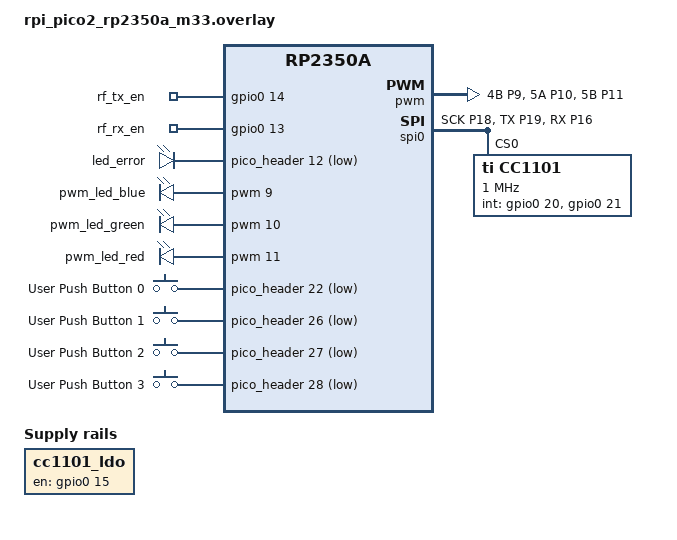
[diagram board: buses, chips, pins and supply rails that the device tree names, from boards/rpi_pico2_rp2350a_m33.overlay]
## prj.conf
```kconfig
CONFIG_INPUT=y
CONFIG_INPUT_LONGPRESS=y
CONFIG_LED=y
CONFIG_GPIO=y
CONFIG_PWM=y
CONFIG_REGULATOR=y

# Added automatically by Workbench for Zephyr
#--- DEBUG PRESET - BEGIN ---#
# Set to -Og
CONFIG_DEBUG_OPTIMIZATIONS=y
# Thread awareness support
CONFIG_DEBUG_THREAD_INFO=y
# Generate stack usage per-function
CONFIG_STACK_USAGE=y
# Other options in case not set by default
CONFIG_BUILD_OUTPUT_HEX=y
CONFIG_BUILD_OUTPUT_META=y
CONFIG_OUTPUT_SYMBOLS=y
CONFIG_OUTPUT_STAT=y
CONFIG_OUTPUT_DISASSEMBLY=y
CONFIG_OUTPUT_PRINT_MEMORY_USAGE=y
#--- DEBUG PRESET - END ---#
```

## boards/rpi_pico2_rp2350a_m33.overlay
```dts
#include <zephyr/dt-bindings/pinctrl/rpi-pico-rp2350a-pinctrl.h>
#include <zephyr/dt-bindings/input/input-event-codes.h>
#include <zephyr/dt-bindings/gpio/gpio.h>
#include <zephyr/dt-bindings/pwm/pwm.h>

/ {

	cc1101_ldo: cc1101-ldo {
		compatible = "regulator-fixed";
		status = "okay";
		regulator-name = "cc1101-ldo";
		enable-gpios = <&gpio0 15 GPIO_ACTIVE_HIGH>;
		regulator-boot-on;
		startup-delay-us = <1000>;
	};

	rf_switch: rf-switch {
		compatible = "gpio-leds";
		status = "okay";

		rf_tx_en: tx-en {
			gpios = <&gpio0 14 GPIO_ACTIVE_HIGH>;
		};
		rf_rx_en: rx-en {
			gpios = <&gpio0 13 GPIO_ACTIVE_HIGH>;
		};
	};

	leds {
		compatible = "gpio-leds";
		status = "okay";

		led_error: led-error {
			gpios = <&pico_header 12 GPIO_ACTIVE_LOW>;
		};
	};

	pwmleds {
		compatible = "pwm-leds";
		status = "okay";

		pwm_led_blue: pwm-led-blue { pwms = <&pwm 9 PWM_USEC(1000) PWM_POLARITY_INVERTED>; }; /* GP9  - slice4B */
		pwm_led_green: pwm-led-green { pwms = <&pwm 10 PWM_USEC(1000) PWM_POLARITY_INVERTED>; }; /* GP10 - slice5A */
		pwm_led_red: pwm-led-red { pwms = <&pwm 11 PWM_USEC(1000) PWM_POLARITY_INVERTED>; }; /* GP11 - slice5B, shares freq w/ GP10 */
	};

	buttons: buttons {
		compatible = "gpio-keys";

		button_0: button-0 {
			gpios = <&pico_header 22 GPIO_ACTIVE_LOW>;
			label = "User Push Button 0";
			zephyr,code = <INPUT_BTN_0>;
		};

		button_1: button-1 {
			gpios = <&pico_header 26 GPIO_ACTIVE_LOW>;
			label = "User Push Button 1";
			zephyr,code = <INPUT_BTN_1>;
		};

		button_2: button-2 {
			gpios = <&pico_header 27 GPIO_ACTIVE_LOW>;
			label = "User Push Button 2";
			zephyr,code = <INPUT_BTN_2>;
		};

		button_3: button-3 {
			gpios = <&pico_header 28 GPIO_ACTIVE_LOW>;
			label = "User Push Button 3";
			zephyr,code = <INPUT_BTN_3>;
		};
	};

	longpress {
		compatible = "zephyr,input-longpress";
		input = <&buttons>;
		input-codes = <INPUT_BTN_0>, <INPUT_BTN_1>, <INPUT_BTN_2>, <INPUT_BTN_3>;
		short-codes = <INPUT_KEY_0>, <INPUT_KEY_1>, <INPUT_KEY_2>, <INPUT_KEY_3>;
		long-codes  = <INPUT_KEY_A>, <INPUT_KEY_B>, <INPUT_KEY_C>, <INPUT_KEY_D>;
		long-delay-ms = <1000>;
	};
};

&pinctrl {
	pwm_multi_default: pwm-multi-default {
		group1 {
			pinmux = <PWM_4B_P9>, <PWM_5A_P10>, <PWM_5B_P11>;
		};
	};

	pico2_spi0_default: pico2-spi0-default {
		group1 {
			// <SPI0_CSN_P17>
			pinmux = <SPI0_SCK_P18>, <SPI0_TX_P19>;
		};

		group2 {
			pinmux = <SPI0_RX_P16>;
			input-enable;
		};
	};
};

&pwm {
	status = "okay";
	pinctrl-0 = <&pwm_multi_default>;
	pinctrl-names = "default";
	divider-int-4 = <150>;
	divider-int-5 = <150>;
};

&adc {
	status = "disabled";
};

&spi0 {
	status = "okay";
	pinctrl-0 = <&pico2_spi0_default>;
	pinctrl-names = "default";
	/* CS is driven manually by the cc1101 driver via its own cs-gpios property */

	cc1101@0 {
		compatible = "ti,cc1101";
		status = "okay";
		reg = <0>;
		spi-max-frequency = <1000000>;
		int_gpios = <&gpio0 20 GPIO_ACTIVE_HIGH>, <&gpio0 21 GPIO_ACTIVE_HIGH>;
		cs-gpios = <&gpio0 17 GPIO_ACTIVE_LOW>;

		frequency = <433920>;
		bitrate = <2500>;
	};
};

&i2c0 {
	status = "disabled";
};

&i2c1 {
	status = "disabled";
};
```

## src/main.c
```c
/*
 * Copyright (c) 2012-2014 Wind River Systems, Inc.
 *
 * SPDX-License-Identifier: Apache-2.0
 */

#include <stdio.h>
#include <errno.h>

#include <zephyr/kernel.h>
#include <zephyr/device.h>
#include <zephyr/input/input.h>
#include <zephyr/drivers/pwm.h>
#include <zephyr/drivers/gpio.h>
#include <zephyr/toolchain.h>

#include <app/drivers/cc1101.h>

// HCS300 protocol parameters
// All timings values are integer multiples of TE.
// TE is configurable between: 100us, 200us, 400us.
// Packet:
//   - Preamble: 23 TE (12 sync pulses) - 50% duty cycle
//   - Header: 10 TE gap
//   - Data: 66 bits -> 1 bit is 3 TE (PWM modulated)
//     - 0 bit: 2 TE high, 1 TE low
//     - 1 bit: 1 TE high, 2 TE low

// 50% duty cycle preamble
#define HCS300_PREAMBLE_TE 23

// Gap between preamble and data
#define HCS300_HEADER_GAP_TE 10

// Serial number, button code, VLOW and RPT bits
#define HCS300_FIXED_BITS     34
#define HCS300_ENCRYPTED_BITS 32
#define HCS300_BIT_TE         3

// Data portion of code word (66 bits)
#define HCS300_DATA_BITS (HCS300_ENCRYPTED_BITS + HCS300_FIXED_BITS)

// Total code word data length in TE units (each bit is encoded in 3 TE - PWM modulated)
#define HCS300_DATA_BITS_TE (HCS300_DATA_BITS * HCS300_BIT_TE)

#define HCS300_CODEWORD_DATA_BYTES ((HCS300_DATA_BITS_TE + 7) >> 3)
#define HCS300_CODEWORD_BYTES                                                                      \
	((HCS300_PREAMBLE_TE + HCS300_HEADER_GAP_TE + HCS300_DATA_BITS_TE + 7) >> 3)

// Button status getter macros
#define HCS300_BTN_STATUS_S0(btn_status) ((btn_status) & HCS300_S0)
#define HCS300_BTN_STATUS_S1(btn_status) ((btn_status) & HCS300_S1)
#define HCS300_BTN_STATUS_S2(btn_status) ((btn_status) & HCS300_S2)
#define HCS300_BTN_STATUS_S3(btn_status) ((btn_status) & HCS300_S3)

#define HCS300_CODEWORD_TE (HCS300_PREAMBLE_TE + HCS300_HEADER_GAP_TE + HCS300_DATA_BITS_TE)

typedef enum hcs300_sw_id {
  HCS300_S0 = 0x1,
  HCS300_S1 = 0x2,
  HCS300_S2 = 0x4,
  HCS300_S3 = 0x8,
} hcs300_sw_id_t;

// Bit ordering within each byte of the codeword/data buffers (byte order of multi-byte
// words such as serial/encrypted is fixed by the protocol and unaffected by this setting)
typedef enum hcs300_bit_order {
	HCS300_BIT_ORDER_LSB_FIRST,
	HCS300_BIT_ORDER_MSB_FIRST,
} hcs300_bit_order_t;

static inline uint8_t hcs300_bit_offset(uint32_t bit_idx, hcs300_bit_order_t bit_order)
{
	uint8_t offset = bit_idx & 0x7;

	return (bit_order == HCS300_BIT_ORDER_MSB_FIRST) ? (7 - offset) : offset;
}

static const struct pwm_dt_spec pwm_led_red = PWM_DT_SPEC_GET(DT_NODELABEL(pwm_led_red));
static const struct pwm_dt_spec pwm_led_green = PWM_DT_SPEC_GET(DT_NODELABEL(pwm_led_green));
static const struct pwm_dt_spec pwm_led_blue = PWM_DT_SPEC_GET(DT_NODELABEL(pwm_led_blue));

static const struct gpio_dt_spec led_error = GPIO_DT_SPEC_GET(DT_NODELABEL(led_error), gpios);

static const struct gpio_dt_spec button_0 = GPIO_DT_SPEC_GET(DT_NODELABEL(button_0), gpios);
static const struct gpio_dt_spec button_1 = GPIO_DT_SPEC_GET(DT_NODELABEL(button_1), gpios);
static const struct gpio_dt_spec button_2 = GPIO_DT_SPEC_GET(DT_NODELABEL(button_2), gpios);
static const struct gpio_dt_spec button_3 = GPIO_DT_SPEC_GET(DT_NODELABEL(button_3), gpios);

static const struct gpio_dt_spec rf_tx_en = GPIO_DT_SPEC_GET(DT_NODELABEL(rf_tx_en), gpios);
static const struct gpio_dt_spec rf_rx_en = GPIO_DT_SPEC_GET(DT_NODELABEL(rf_rx_en), gpios);

static int rf_switch_init(void)
{
    if (!gpio_is_ready_dt(&rf_tx_en) || !gpio_is_ready_dt(&rf_rx_en)) {
        return -ENODEV;
    }

    gpio_pin_configure_dt(&rf_tx_en, GPIO_OUTPUT_ACTIVE);
    gpio_pin_configure_dt(&rf_rx_en, GPIO_OUTPUT_INACTIVE);
    return 0;
}

const struct device *cc1101 = DEVICE_DT_GET_ANY(ti_cc1101);

static void button_input_cb(struct input_event *evt, void *user_data)
{
	ARG_UNUSED(user_data);

	if (evt->sync == 0) {
		return;
	}

	printf("Button %d %s at %" PRIu32 "\n", evt->code, evt->value ? "pressed" : "released",
	       k_uptime_get_32());
}

INPUT_CALLBACK_DEFINE(NULL, button_input_cb, NULL);

static void led_test(void)
{
	pwm_set_pulse_dt(&pwm_led_red, 0);
	pwm_set_pulse_dt(&pwm_led_green, 0);
	pwm_set_pulse_dt(&pwm_led_blue, 0);
	gpio_pin_set_dt(&led_error, 1);
	k_msleep(1000);
	gpio_pin_set_dt(&led_error, 0);

	for (int i = 0; i <= 100; i++) {
		k_msleep(10);
		pwm_set_pulse_dt(&pwm_led_red, PWM_USEC(i * 10));
	}
	pwm_set_pulse_dt(&pwm_led_red, 0);
	k_msleep(1000);

	for (int i = 0; i <= 100; i++) {
		k_msleep(10);
		pwm_set_pulse_dt(&pwm_led_green, PWM_USEC(i * 10));
	}
	pwm_set_pulse_dt(&pwm_led_green, 0);
	k_msleep(1000);

	for (int i = 0; i <= 100; i++) {
		k_msleep(10);
		pwm_set_pulse_dt(&pwm_led_blue, PWM_USEC(i * 10));
	}
	pwm_set_pulse_dt(&pwm_led_blue, 0);
	k_msleep(1000);
}

static int create_codeword(uint8_t *codeword, uint16_t codeword_len, bool rpt, bool vlow,
			   uint8_t btn_status, uint32_t serial, uint32_t encrypted,
			   uint16_t guard_time_us, uint16_t te_us, bool preamble,
			   bool header, bool guard, hcs300_bit_order_t bit_order)
{
	uint16_t bit_len = HCS300_DATA_BITS_TE;
	uint8_t data[HCS300_CODEWORD_DATA_BYTES];

	memset(data, 0, sizeof(data));
	memset(codeword, 0, codeword_len);

	if (preamble) {
		bit_len += HCS300_PREAMBLE_TE;
	}
	if (header) {
		bit_len += HCS300_HEADER_GAP_TE;
	}
	if (guard) {
		bit_len += (guard_time_us + te_us - 1) / te_us;
	}
	uint16_t cw_len_min = (bit_len + 7) >> 3;

	if (codeword_len < cw_len_min) {
		return -ENOSPC;
	}

	data[0] = encrypted & 0xFF;
	data[1] = (encrypted >> 8) & 0xFF;
	data[2] = (encrypted >> 16) & 0xFF;
	data[3] = (encrypted >> 24) & 0xFF;
	data[4] = serial & 0xFF;
	data[5] = (serial >> 8) & 0xFF;
	data[6] = (serial >> 16) & 0xFF;
	data[7] = (serial >> 24) & 0x0F;
	// Button code bits: S3, S0, S1, S2 (LSB first)
	uint8_t btn_code = ((HCS300_BTN_STATUS_S3(btn_status) ? 1 : 0) << 0) |
			   ((HCS300_BTN_STATUS_S0(btn_status) ? 1 : 0) << 1) |
			   ((HCS300_BTN_STATUS_S1(btn_status) ? 1 : 0) << 2) |
			   ((HCS300_BTN_STATUS_S2(btn_status) ? 1 : 0) << 3);
	data[7] |= (btn_code << 4);
	data[8] = (vlow ? 1 : 0) << 0;
	data[8] |= (rpt ? 1 : 0) << 1;

	uint16_t cw_bit_idx = 0;
	if (preamble) {
		// Set preamble bits (50% duty cycle) into codeword array
		for (cw_bit_idx = 0; cw_bit_idx < HCS300_PREAMBLE_TE; cw_bit_idx += 2) {
			uint16_t byte_idx = cw_bit_idx >> 3;
			uint8_t bit_offset = hcs300_bit_offset(cw_bit_idx, bit_order);
			codeword[byte_idx] |= (1 << bit_offset);
		}
	}

	if (header) {
		// The codeword array is already cleared so just advance the index
		cw_bit_idx += HCS300_HEADER_GAP_TE;
	}

	for (uint32_t data_bit_idx = 0; data_bit_idx < HCS300_DATA_BITS; data_bit_idx++) {
		uint8_t data_byte = data[data_bit_idx >> 3];
 		uint8_t data_bit = (data_byte >> (data_bit_idx & 0x7)) & 0x1;

		uint8_t pwm_pattern[2][3] = {
			{1, 1, 0}, // logical 0
			{1, 0, 0}  // logical 1
		};

		for (uint8_t pwm_idx = 0; pwm_idx < HCS300_BIT_TE; pwm_idx++, cw_bit_idx++) {
			uint32_t byte_idx = cw_bit_idx >> 3;
			uint8_t bit_offset = hcs300_bit_offset(cw_bit_idx, bit_order);
			uint8_t pwm_bit = pwm_pattern[data_bit][pwm_idx];
			codeword[byte_idx] |= (pwm_bit << bit_offset);
		}
	}

	return cw_len_min;
}

int hcs300_create_codeword(uint8_t *codeword, uint16_t codeword_len, bool rpt,
			   bool vlow, uint8_t btn_status, uint32_t serial, uint32_t encrypted,
			   hcs300_bit_order_t bit_order)
{
	const uint16_t guard_time_us = 10000; 
	const uint16_t te_us = 400;
	return create_codeword(codeword, codeword_len, rpt, vlow, btn_status, serial,
			       encrypted, guard_time_us, te_us,
			       true,   // Preamble
			       true,   // Header
			       false,  // Guard time
			       bit_order);
}

int main(void)
{
	printf("Hello World! %s\n", CONFIG_BOARD_TARGET);

	rf_switch_init();

	if (!device_is_ready(led_error.port)) {
		printf("Error: LED device %s is not ready\n", led_error.port->name);
		return 0;
	}

	if (!pwm_is_ready_dt(&pwm_led_red)) {
		printf("Error: PWM device %s is not ready\n", pwm_led_red.dev->name);
		return 0;
	}
	if (!pwm_is_ready_dt(&pwm_led_green)) {
		printf("Error: PWM device %s is not ready\n", pwm_led_green.dev->name);
		return 0;
	}
	if (!pwm_is_ready_dt(&pwm_led_blue)) {
		printf("Error: PWM device %s is not ready\n", pwm_led_blue.dev->name);
		return 0;
	}
	int ret = gpio_pin_set_dt(&led_error, GPIO_OUTPUT_ACTIVE);
	if (ret < 0) {
		return 0;
	}

	if (!device_is_ready(button_0.port)) {
		printk("Error: button device %s is not ready\n", button_0.port->name);
		return -1;
	}

	if (!device_is_ready(button_1.port)) {
		printk("Error: button device %s is not ready\n", button_1.port->name);
		return -1;
	}

	if (!device_is_ready(button_2.port)) {
		printk("Error: button device %s is not ready\n", button_2.port->name);
		return -1;
	}

	if (!device_is_ready(button_3.port)) {
		printk("Error: button device %s is not ready\n", button_3.port->name);
		return -1;
	}

	// Turn off all LEDs
	pwm_set_pulse_dt(&pwm_led_red, 0);
	pwm_set_pulse_dt(&pwm_led_green, 0);
	pwm_set_pulse_dt(&pwm_led_blue, 0);
	gpio_pin_set_dt(&led_error, 0);

	uint8_t codeword[HCS300_CODEWORD_BYTES];
	ret = hcs300_create_codeword(codeword, sizeof(codeword), false, false, 0x01, 0x12345678,
				      0x9ABCDEF0, HCS300_BIT_ORDER_MSB_FIRST);
	if (ret < 0) {
		printf("Error creating codeword: %d\n", ret);
		return 0;
	}

	while (1) {
		cc1101_find_chip(cc1101);
		// gpio_pin_set_dt(&rf_rx_en, 0);
		// k_msleep(100);
		ret = cc1101_tx(cc1101, codeword, sizeof(codeword));
		// k_msleep(100);
		// gpio_pin_set_dt(&rf_rx_en, 1);
		if (ret < 0) {
			printf("Error transmitting codeword: %d\n", ret);
		}
		k_msleep(5000);
	}

	return 0;
}
```
